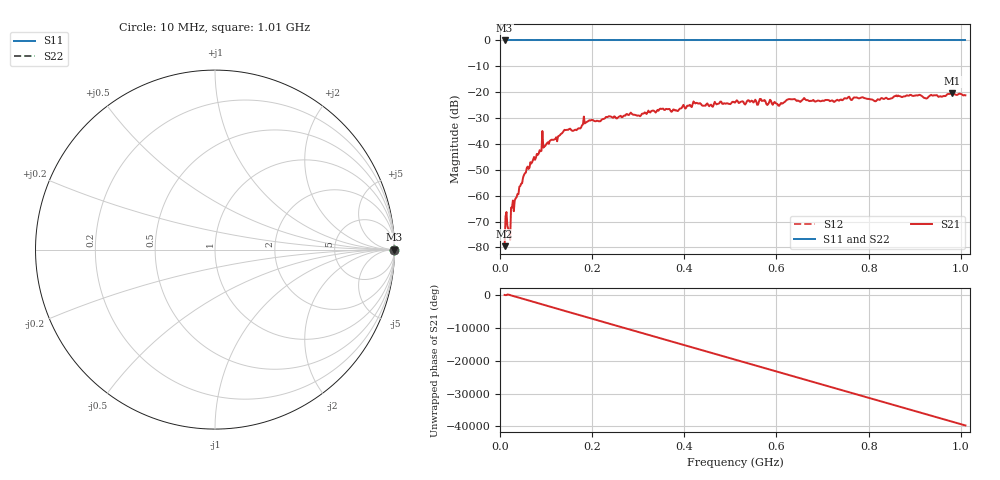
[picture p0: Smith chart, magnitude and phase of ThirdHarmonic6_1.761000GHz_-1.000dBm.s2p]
! 8/16/2025 9:15:44 PM
! C:\ANRITSUVNA\TEMP\TEMP.S2P
! CHANNEL.1
! TR.MEASUREMENT
! RAW.DATA
! RF.CORRECTION.OFF
! AVERAGING.OFF
! IF.BANDWIDTH: 5KHZ
! SWEEPTYPE:  FREQ.SWEEP(Linear)
! Reference Plane Port Info
! PORT:  PORT1  PORT2
! DISTANCE:  0  m  0  m
! TIME:  0  s  0  s
! PHASE.OFFSET:  0  deg.  0  deg.
! LOSS:  0  dB  0  dB
! REF.LOSS:  0  dB  0  dB
! REF.FREQ:  0  Hz  0  Hz
! Power Info
! POWER:  -20  dBm  -20  dBm
! EFF.POWER:  -20  dBm  -20  dBm
! SOURCE.ATTEN:  0  dB  0  dB
! TEST.ATTEN:  0  dB  0  dB
# GHZ S RI R 50.0
! FREQ.GHZ  S11RE  S11IM  S21RE  S21IM  S12RE  S12IM  S22RE  S22IM
!; PortSelection: Port_12
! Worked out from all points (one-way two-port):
!   501 points, 10 MHz to 1.01 GHz, reference 50 ohm
!   highest |S21| = -20.48 dB at 982 MHz (marker M1); lowest = -79.5 dB at 10 MHz (marker M2)
!   lowest |S11| = 0.0 dB at 10 MHz (marker M3)
!   |S11| at or under -10 dB: nowhere
!   |S22| runs from 0.0 to 0.0 dB; largest |S21 - S12| = 1.1
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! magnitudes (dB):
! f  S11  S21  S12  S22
! 10 MHz  0.0  -79.5  0.0  0.0
! 16 MHz  0.0  -71.5  0.0  0.0
! 20 MHz  0.0  -73.2  0.0  0.0
! 28 MHz  0.0  -61.8  0.0  0.0
! 56 MHz  0.0  -51.1  0.0  0.0
! 86 MHz  0.0  -42.4  0.0  0.0
! 88 MHz  0.0  -42.8  0.0  0.0
! 142 MHz  0.0  -34.6  0.0  0.0
! 162 MHz  0.0  -34.6  0.0  0.0
! 178 MHz  0.0  -32.8  0.0  0.0
! 344 MHz  0.0  -27.2  0.0  0.0
! 384 MHz  0.0  -27.2  0.0  0.0
! 424 MHz  0.0  -24.3  0.0  0.0
! 458 MHz  0.0  -24.8  0.0  0.0
! 510 MHz  0.0  -24.0  0.0  0.0
! 568 MHz  0.0  -23.4  0.0  0.0
! 604 MHz  0.0  -25.2  0.0  0.0
! 628 MHz  0.0  -22.6  0.0  0.0
! 678 MHz  0.0  -23.2  0.0  0.0
! 844 MHz  0.0  -22.6  0.0  0.0
! 982 MHz  0.0  -20.5  0.0  0.0
! 1.01 GHz  0.0  -21.2  0.0  0.0
